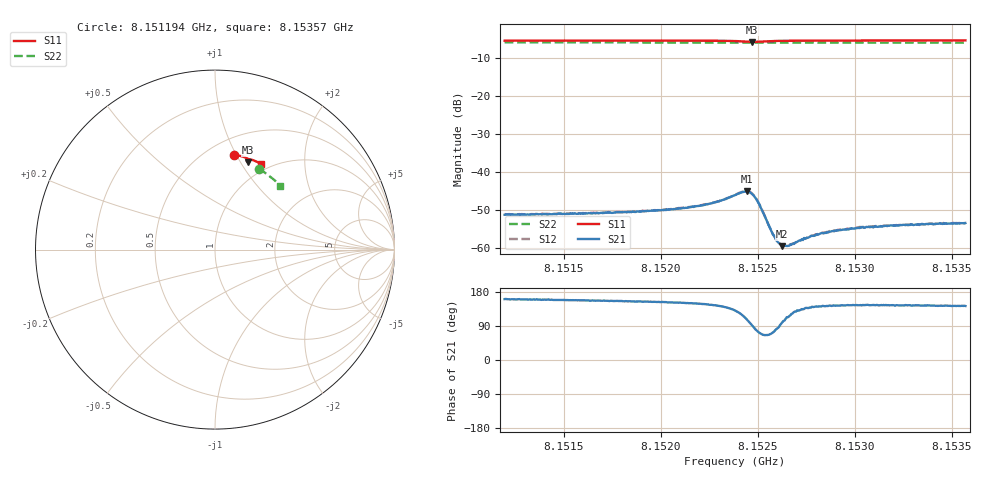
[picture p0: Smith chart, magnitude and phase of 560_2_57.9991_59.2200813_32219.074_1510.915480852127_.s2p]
#  HZ  S  RI  R  50.00
! Rohde & Schwarz Vector Network Analyzer
! Rohde-Schwarz,ZNB20-2Port,1311601062101988,3.16
! Created: UTC 3/21/2024, 1:15:22 AM
! freq[Hz]  re:S11  im:S11  re:S21  im:S21  re:S12  im:S12  re:S22  im:S22
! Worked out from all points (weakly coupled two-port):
!   401 points, 8.151194 GHz to 8.15357 GHz, reference 50 ohm
!   highest |S21| = -45.18 dB at 8.152441 GHz (marker M1); lowest = -59.6 dB at 8.152626 GHz (marker M2)
!   lowest |S11| = -5.7 dB at 8.152471 GHz (marker M3), VSWR 3.17, Z = 40.2 + j53.7 ohm
!   |S11| at or under -10 dB: nowhere
!   |S22| runs from -5.9 to -5.8 dB; largest |S21 - S12| = 0.00012
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8.1511939e9  0.1036 0.5294  -0.00256 0.000898  -0.00261 0.000956  0.2445 0.4489
8.1515919e9  0.1312 0.5239  -0.00261 0.00109  -0.00258 0.00114  0.2663 0.4361
8.1519899e9  0.1591 0.5164  -0.00278 0.0014  -0.00276 0.00146  0.2875 0.4218
8.1522157e9  0.1761 0.5102  -0.00304 0.00193  -0.0031 0.00199  0.2992 0.4131
8.1522988e9  0.1831 0.5063  -0.00325 0.00244  -0.00324 0.00251  0.3034 0.4097
8.152382e9  0.1896 0.4985  -0.00323 0.00375  -0.0032 0.00384  0.3075 0.4062
8.1524176e9  0.1901 0.4928  -0.00263 0.0047  -0.00259 0.00478  0.3091 0.4047
8.1524414e9  0.1877 0.4889  -0.00169 0.00524  -0.00166 0.00528  0.3102 0.4037
8.1524711e9  0.1817 0.4872  -6.75e-05 0.00508  8.54e-06 0.00515  0.3112 0.4025
8.1524889e9  0.1785 0.4892  0.000772 0.00441  0.000828 0.00443  0.3118 0.4021
8.1525068e9  0.1768 0.4926  0.00115 0.00358  0.00118 0.00357  0.3128 0.4015
8.1525662e9  0.1814 0.5011  0.000628 0.0016  0.000651 0.00162  0.316 0.3995
8.152584e9  0.1835 0.5021  0.000369 0.00138  0.000391 0.00136  0.317 0.3989
8.1526078e9  0.1865 0.503  6.69e-05 0.00115  6.65e-05 0.00118  0.3183 0.3979
8.1526256e9  0.1885 0.5031  -0.000167 0.00103  -0.00015 0.00107  0.319 0.3972
8.1526612e9  0.1921 0.5031  -0.000459 0.000958  -0.000462 0.000961  0.3207 0.3957
8.15278e9  0.2026 0.5012  -0.00111 0.000907  -0.00106 0.000957  0.3267 0.3907
8.1528216e9  0.206 0.5001  -0.0012 0.000958  -0.00118 0.000956  0.3287 0.3891
8.1529226e9  0.2134 0.4976  -0.00137 0.00101  -0.00138 0.00104  0.3335 0.3847
8.1530295e9  0.2209 0.4949  -0.0015 0.00105  -0.00153 0.00107  0.3386 0.3801
8.1531781e9  0.2308 0.4906  -0.00158 0.00114  -0.00159 0.00113  0.3455 0.3736
8.1535701e9  0.2559 0.4789  -0.00167 0.00129  -0.00165 0.0013  0.3629 0.356
